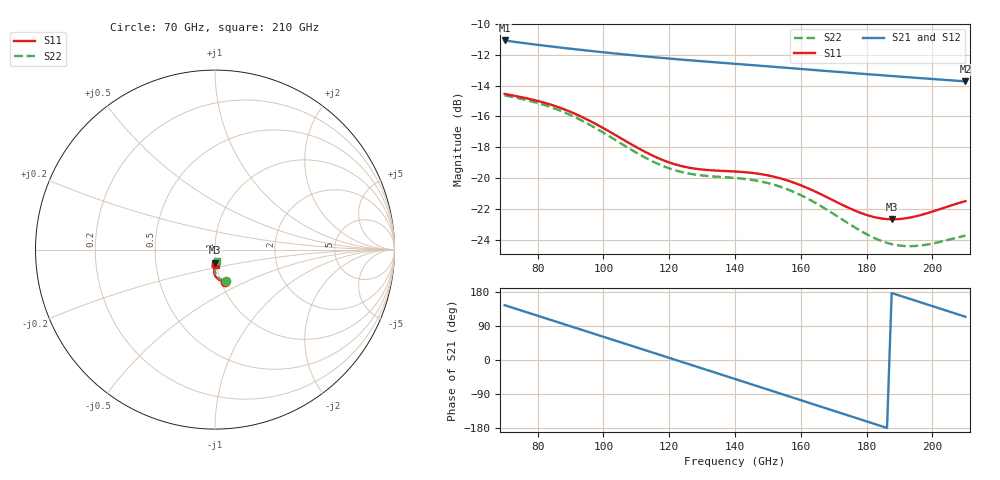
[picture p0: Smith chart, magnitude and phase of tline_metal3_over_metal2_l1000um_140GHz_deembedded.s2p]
! Created with skrf 2.0.1 (http://scikit-rf.org).
# GHz S DB R 50.0
!freq dBS11 angS11 dBS21 angS21 dBS12 angS12 dBS22 angS22
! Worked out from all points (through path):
!   101 points, 70 GHz to 210 GHz, reference 50 ohm
!   highest |S21| = -11.07 dB at 70 GHz (marker M1); lowest = -13.7 dB at 210 GHz (marker M2)
!   group delay of S21, straight-line fit = 7.75 ps
!   lowest |S11| = -22.7 dB at 187.6 GHz (marker M3), VSWR 1.16, Z = 49.3 - j7.29 ohm
!   |S11| at or under -10 dB: start of sweep to end of sweep
!   |S22| runs from -24.4 to -14.6 dB; largest |S21 - S12| = 4e-14
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70  -14.54 -73.2  -11.07 144.7  -11.07 144.7  -14.63 -71.3
77  -14.84 -76.4  -11.27 125.3  -11.27 125.3  -14.95 -74.5
82.6  -15.14 -79.6  -11.42 109.7  -11.42 109.7  -15.29 -77.8
88.2  -15.54 -83.2  -11.56 94.1  -11.56 94.1  -15.74 -81.3
93.8  -16.06 -86.6  -11.69 78.6  -11.69 78.6  -16.30 -84.7
99.4  -16.68 -89.4  -11.82 63.0  -11.82 63.0  -16.97 -87.4
106.4  -17.54 -91.7  -11.97 43.5  -11.97 43.5  -17.88 -89.5
112  -18.22 -92.3  -12.09 27.9  -12.09 27.9  -18.59 -90.0
117.6  -18.79 -91.9  -12.20 12.4  -12.20 12.4  -19.17 -89.4
123.2  -19.19 -91.0  -12.30 -3.2  -12.30 -3.2  -19.57 -88.5
128.8  -19.41 -90.2  -12.40 -18.8  -12.40 -18.8  -19.80 -87.8
140  -19.57 -90.9  -12.58 -50.1  -12.58 -50.1  -19.99 -89.0
145.6  -19.67 -92.5  -12.67 -65.8  -12.67 -65.8  -20.13 -91.0
151.2  -19.88 -94.5  -12.77 -81.4  -12.77 -81.4  -20.39 -93.5
156.8  -20.21 -96.6  -12.86 -97.1  -12.86 -97.1  -20.80 -96.1
163.8  -20.81 -98.6  -12.98 -116.7  -12.98 -116.7  -21.53 -98.8
170.8  -21.54 -98.8  -13.10 -136.3  -13.10 -136.3  -22.44 -99.8
176.4  -22.10 -97.5  -13.19 -151.9  -13.19 -151.9  -23.20 -98.9
182  -22.51 -94.7  -13.28 -167.6  -13.28 -167.6  -23.85 -96.3
187.6  -22.67 -91.3  -13.37 176.8  -13.37 176.8  -24.28 -92.5
197.4  -22.34 -86.5  -13.53 149.4  -13.53 149.4  -24.34 -85.9
210  -21.49 -86.0  -13.72 114.1  -13.72 114.1  -23.73 -82.2
